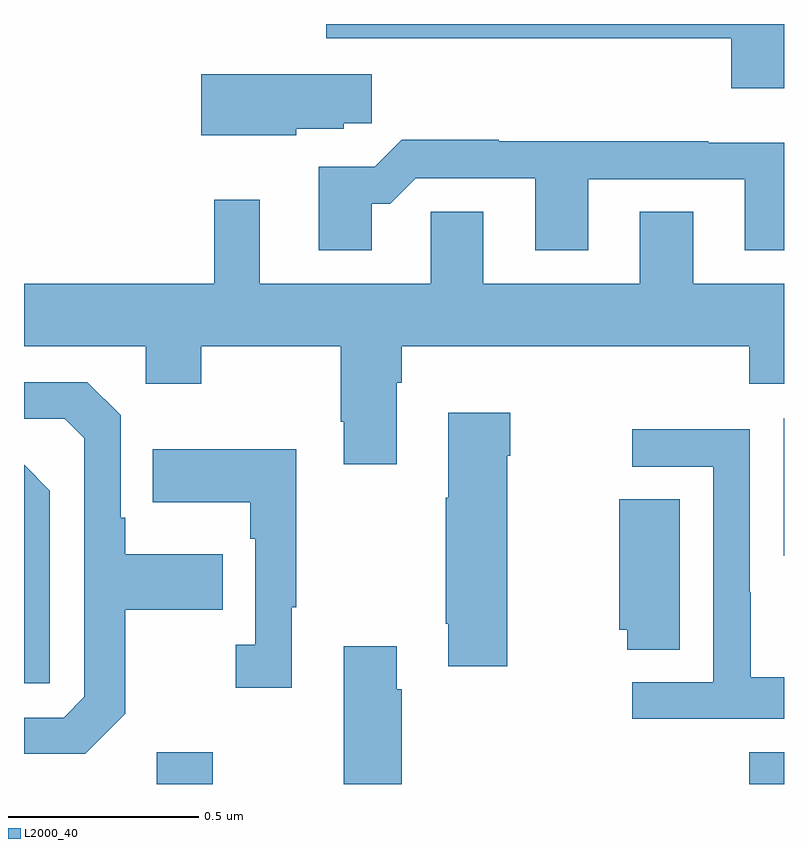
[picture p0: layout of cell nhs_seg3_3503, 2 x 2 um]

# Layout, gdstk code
import gdstk
lib = gdstk.Library(unit=1e-6, precision=1e-09)
def R(c, l, rs):  # rectangles x0, y0, x1, y1
    for r in rs: c.add(gdstk.rectangle(r[:2], r[2:], *l))
def P(c, l, *ps):  # polygons
    for p in ps: c.add(gdstk.Polygon(p, *l))
L2000_40 = (2000, 40)

nhs_seg3_3503 = lib.new_cell('nhs_seg3_3503')
R(nhs_seg3_3503, L2000_40, [(154.349,730.4,154.497,730.483), (155.909,730.4,156,730.483), (155.999,731.001,156,731.362)])
P(nhs_seg3_3503, L2000_40, [(156,732.4),(154.796,732.4),(154.796,732.362),(155.861,732.362),(155.861,732.231),(156,732.231)],
  [(154.716,732.125),(154.842,732.125),(154.842,732.139),(154.915,732.139),(154.915,732.268),(154.466,732.268),(154.466,732.107),(154.716,732.107)],
  [(154.915,731.927),(154.964,731.927),(155.031,731.994),(155.345,731.994),(155.345,731.805),(155.485,731.805),(155.485,731.991),(155.897,731.991),(155.897,731.805),(156,731.805),(156,732.088),(155.801,732.088),(155.801,732.092),(155.249,732.092),(155.249,732.095),(154.994,732.095),(154.923,732.024),(154.775,732.024),(154.775,731.805),(154.915,731.805)],
  [(154.981,731.456),(154.994,731.456),(154.994,731.552),(155.909,731.552),(155.909,731.453),(156,731.453),(156,731.716),(155.761,731.716),(155.761,731.906),(155.621,731.906),(155.621,731.716),(155.209,731.716),(155.209,731.906),(155.07,731.906),(155.07,731.716),(154.621,731.716),(154.621,731.938),(154.5,731.938),(154.5,731.716),(154,731.716),(154,731.552),(154.32,731.552),(154.32,731.453),(154.467,731.453),(154.467,731.552),(154.834,731.552),(154.834,731.353),(154.841,731.353),(154.841,731.241),(154.981,731.241)],
  [(154.267,730.585),(154.267,730.858),(154.523,730.858),(154.523,731.005),(154.267,731.005),(154.267,731.101),(154.254,731.101),(154.254,731.37),(154.167,731.457),(154,731.457),(154,731.361),(154.107,731.361),(154.158,731.31),(154.158,730.629),(154.104,730.575),(154,730.575),(154,730.479),(154.161,730.479)],
  [(155.272,731.264),(155.28,731.264),(155.28,731.377),(155.117,731.377),(155.117,731.153),(155.11,731.153),(155.11,730.822),(155.117,730.822),(155.117,730.71),(155.272,730.71)],
  [(156,730.681),(155.913,730.681),(155.913,730.904),(155.91,730.904),(155.91,731.334),(155.601,731.334),(155.601,731.235),(155.814,731.235),(155.814,730.668),(155.601,730.668),(155.601,730.572),(156,730.572)],
  [(154.705,730.865),(154.717,730.865),(154.717,731.281),(154.339,731.281),(154.339,731.141),(154.596,731.141),(154.596,731.045),(154.608,731.045),(154.608,730.766),(154.557,730.766),(154.557,730.653),(154.705,730.653)],
  [(154.068,731.172),(154,731.24),(154,730.665),(154.068,730.665)],
  [(155.725,731.15),(155.567,731.15),(155.567,730.806),(155.587,730.806),(155.587,730.753),(155.725,730.753)],
  [(154.994,730.649),(154.981,730.649),(154.981,730.762),(154.841,730.762),(154.841,730.4),(154.994,730.4)])

lib.write_gds('nhs_seg3_3503.gds')
